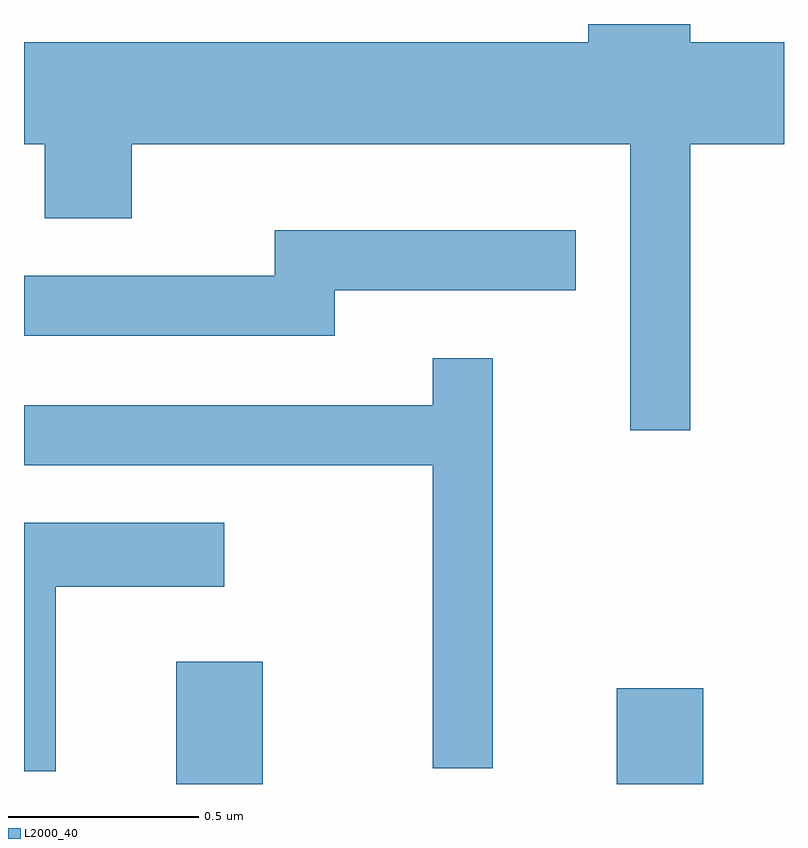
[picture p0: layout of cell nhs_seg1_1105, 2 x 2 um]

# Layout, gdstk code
import gdstk
lib = gdstk.Library(unit=1e-6, precision=1e-09)
def R(c, l, rs):  # rectangles x0, y0, x1, y1
    for r in rs: c.add(gdstk.rectangle(r[:2], r[2:], *l))
def P(c, l, *ps):  # polygons
    for p in ps: c.add(gdstk.Polygon(p, *l))
L2000_40 = (2000, 40)

nhs_seg1_1105 = lib.new_cell('nhs_seg1_1105')
R(nhs_seg1_1105, L2000_40, [(194.011,855.712,194.239,856.034), (195.171,855.712,195.399,855.964)])
P(nhs_seg1_1105, L2000_40, [(195.364,857.396),(195.611,857.396),(195.611,857.664),(195.364,857.664),(195.364,857.712),(195.096,857.712),(195.096,857.664),(193.611,857.664),(193.611,857.396),(193.666,857.396),(193.666,857.201),(193.894,857.201),(193.894,857.396),(195.206,857.396),(195.206,856.643),(195.364,856.643)],
  [(194.429,857.011),(195.063,857.011),(195.063,857.169),(194.271,857.169),(194.271,857.049),(193.611,857.049),(193.611,856.891),(194.429,856.891)],
  [(194.844,856.833),(194.686,856.833),(194.686,856.709),(193.611,856.709),(193.611,856.551),(194.686,856.551),(194.686,855.753),(194.844,855.753)],
  [(193.694,856.231),(194.138,856.231),(194.138,856.399),(193.611,856.399),(193.611,855.746),(193.694,855.746)])

lib.write_gds('nhs_seg1_1105.gds')
